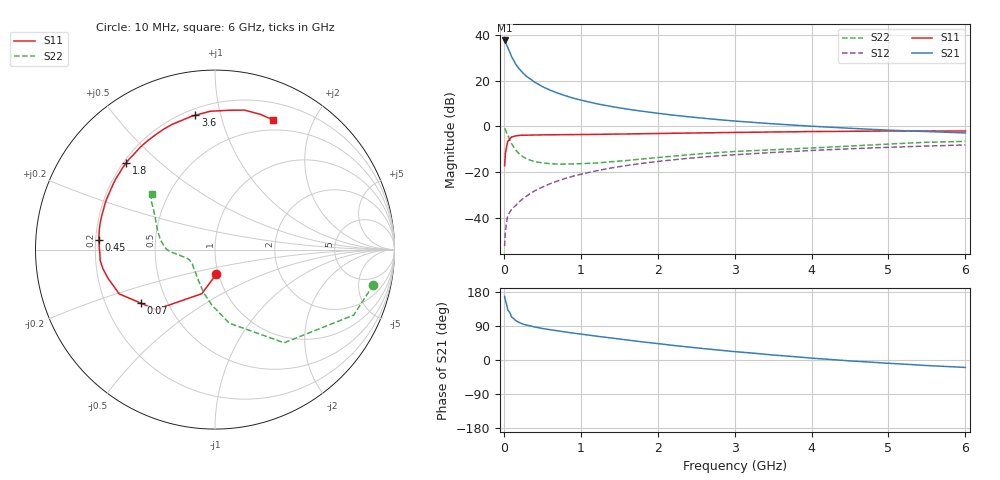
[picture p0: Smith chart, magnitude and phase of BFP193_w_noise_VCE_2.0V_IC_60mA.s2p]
! Infineon Technologies  Discrete & RF Semiconductors
! BFP193
! VCE =  2.0 V,  IC =  60 mA
! Common Emitter S-Parameters:  Jan 2017
# GHz  S  MA  R  50
!  f  S11  S21  S12  S22
! GHz  MAG  ANG  MAG  ANG  MAG  ANG  MAG  ANG
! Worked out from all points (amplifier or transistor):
!   77 points, 10 MHz to 6 GHz, reference 50 ohm
!   highest |S21| = 37.6 dB at 10 MHz (marker M1)
!   |S21| within 3 dB of that: start of sweep to 50.13 MHz
!   unconditionally stable (mu >= 1): 405.8 MHz to 2.501 GHz
!   at 130 MHz: K = 0.71, MSG = 32.1 dB, |S12| = -35.3 dB
!   at 2.2 GHz: K = 1.01, MAG = 9.1 dB, |S12| = -14.6 dB
!   at 6 GHz: K = 0.95, MSG = 2.6 dB, |S12| = -8.1 dB
!   lowest NFmin = 1.67 dB at 450 MHz
!   S11 on the Smith chart (normalised r, x): 10 MHz: 0.97, -0.27; 70 MHz: 0.36, -0.29; 450 MHz: 0.21, +0.04; 1.8 GHz: 0.21, +0.39; 3.6 GHz: 0.24, +0.84; 6 GHz: 0.38, +1.48
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0.01  0.1385 -87.6  75.6 168.1  0.0024 82.3  0.904 -12.5
0.02  0.2563 -106.6  72.05 157.3  0.0049 79.9  0.8543 -25.3
0.05  0.4699 -134.6  53.58 132.9  0.011 60.3  0.6464 -53.4
0.07  0.5089 -144.0  45.01 127.3  0.0127 59.5  0.5435 -61.0
0.1  0.588 -155.2  33.5 113.6  0.0152 58.7  0.4181 -79.0
0.15  0.6177 -165.1  23.56 104.5  0.0184 60.6  0.3082 -93.5
0.2  0.6342 -170.6  18.04 98.9  0.0224 62.1  0.2509 -104.1
0.25  0.6426 -174.7  14.57 94.7  0.0264 65.2  0.216 -111.9
0.3  0.642 -177.9  12.22 91.9  0.0302 66.7  0.1938 -118.8
0.4  0.6467 177.3  9.253 87.1  0.0389 69.3  0.1699 -129.0
0.45  0.6487 175.3  8.331 85.4  0.0429 69.6  0.1641 -132.8
0.6  0.6545 169.8  6.214 79.9  0.0557 69.5  0.1534 -143.0
0.7  0.6567 166.8  5.332 77.0  0.064 69.4  0.1492 -147.4
0.9  0.6599 160.5  4.155 71.1  0.0813 68.2  0.1511 -153.9
1.1  0.6665 154.9  3.427 65.8  0.098 66.4  0.1553 -158.9
1.8  0.691 135.9  2.143 47.9  0.1556 57.7  0.1934 -169.9
2.1  0.7013 128.3  1.845 41.0  0.178 53.6  0.2154 -173.3
3.1  0.7392 107.1  1.272 20.5  0.245 40.1  0.2872 175.3
3.6  0.7566 98.3  1.11 11.6  0.274 34.1  0.3134 168.2
4.1  0.7719 90.5  0.987 3.5  0.3019 27.9  0.3428 159.9
5.1  0.7937 76.7  0.814 -9.8  0.3527 16.2  0.4178 145.8
6  0.7917 65.7  0.718 -19.7  0.3924 6.0  0.4695 138.7
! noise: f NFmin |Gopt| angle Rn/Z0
0.45  1.67  0.48  -170  0.1
0.9  1.73  0.49  -163  0.1
1.9  2.41  0.62  -131  0.27
2.4  2.75  0.65  -118  0.56
